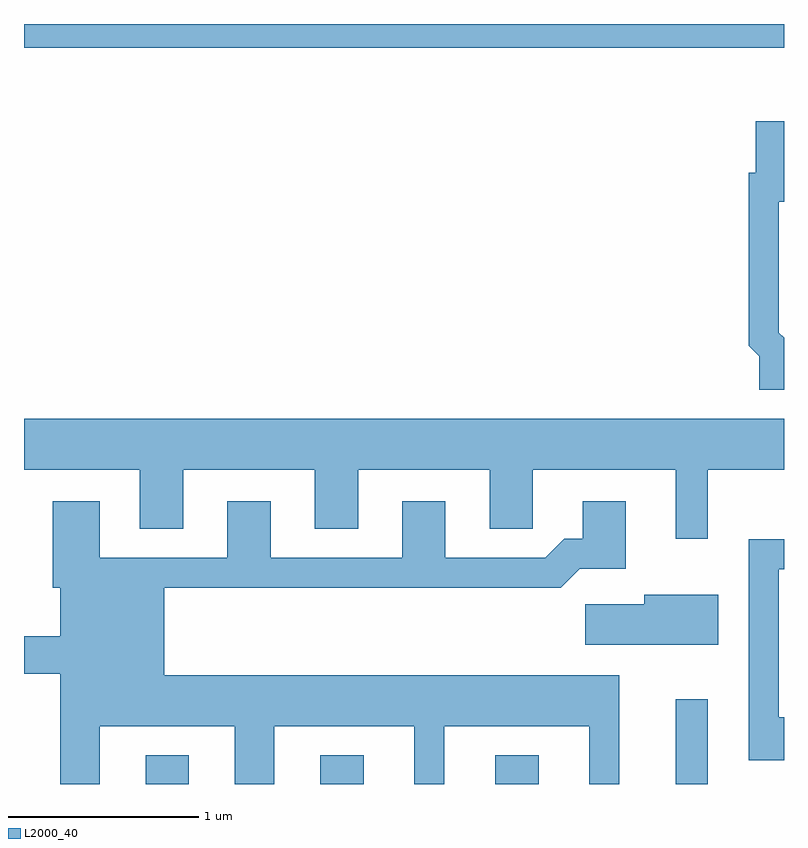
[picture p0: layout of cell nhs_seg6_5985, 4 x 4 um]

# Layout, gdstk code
import gdstk
lib = gdstk.Library(unit=1e-6, precision=1e-09)
def R(c, l, rs):  # rectangles x0, y0, x1, y1
    for r in rs: c.add(gdstk.rectangle(r[:2], r[2:], *l))
def A(c, l, x, y, w, h, nx, ny, dx, dy):  # array of equal rectangles
    R(c, l, [(x+i*dx, y+j*dy, x+i*dx+w, y+j*dy+h) for i in range(nx) for j in range(ny)])
def P(c, l, *ps):  # polygons
    for p in ps: c.add(gdstk.Polygon(p, *l))
L2000_40 = (2000, 40)

nhs_seg6_5985 = lib.new_cell('nhs_seg6_5985')
A(nhs_seg6_5985, L2000_40, 368.251, 1546.162, 0.228, 0.152, 3, 1, 0.92, 0)
R(nhs_seg6_5985, L2000_40, [(371.041,1546.162,371.209,1546.608), (367.611,1550.036,371.611,1550.162)])
P(nhs_seg6_5985, L2000_40, [(371.611,1548.51),(371.584,1548.537),(371.584,1549.226),(371.611,1549.226),(371.611,1549.649),(371.461,1549.649),(371.461,1549.379),(371.426,1549.379),(371.426,1548.469),(371.481,1548.414),(371.481,1548.238),(371.611,1548.238)],
  [(371.209,1547.816),(371.611,1547.816),(371.611,1548.084),(367.611,1548.084),(367.611,1547.816),(368.221,1547.816),(368.221,1547.506),(368.449,1547.506),(368.449,1547.816),(369.141,1547.816),(369.141,1547.506),(369.369,1547.506),(369.369,1547.816),(370.061,1547.816),(370.061,1547.506),(370.289,1547.506),(370.289,1547.816),(371.041,1547.816),(371.041,1547.453),(371.209,1547.453)],
  [(368.009,1546.466),(368.721,1546.466),(368.721,1546.162),(368.929,1546.162),(368.929,1546.466),(369.666,1546.466),(369.666,1546.162),(369.824,1546.162),(369.824,1546.466),(370.586,1546.466),(370.586,1546.162),(370.744,1546.162),(370.744,1546.734),(368.349,1546.734),(368.349,1547.196),(370.437,1547.196),(370.537,1547.296),(370.779,1547.296),(370.779,1547.649),(370.551,1547.649),(370.551,1547.454),(370.454,1547.454),(370.354,1547.354),(369.829,1547.354),(369.829,1547.649),(369.601,1547.649),(369.601,1547.354),(368.909,1547.354),(368.909,1547.649),(368.681,1547.649),(368.681,1547.354),(368.009,1547.354),(368.009,1547.649),(367.761,1547.649),(367.761,1547.196),(367.801,1547.196),(367.801,1546.939),(367.611,1546.939),(367.611,1546.741),(367.801,1546.741),(367.801,1546.162),(368.009,1546.162)],
  [(371.611,1546.514),(371.584,1546.514),(371.584,1547.291),(371.611,1547.291),(371.611,1547.449),(371.426,1547.449),(371.426,1546.286),(371.611,1546.286)],
  [(371.264,1547.159),(370.876,1547.159),(370.876,1547.109),(370.566,1547.109),(370.566,1546.896),(371.264,1546.896)])

lib.write_gds('nhs_seg6_5985.gds')
